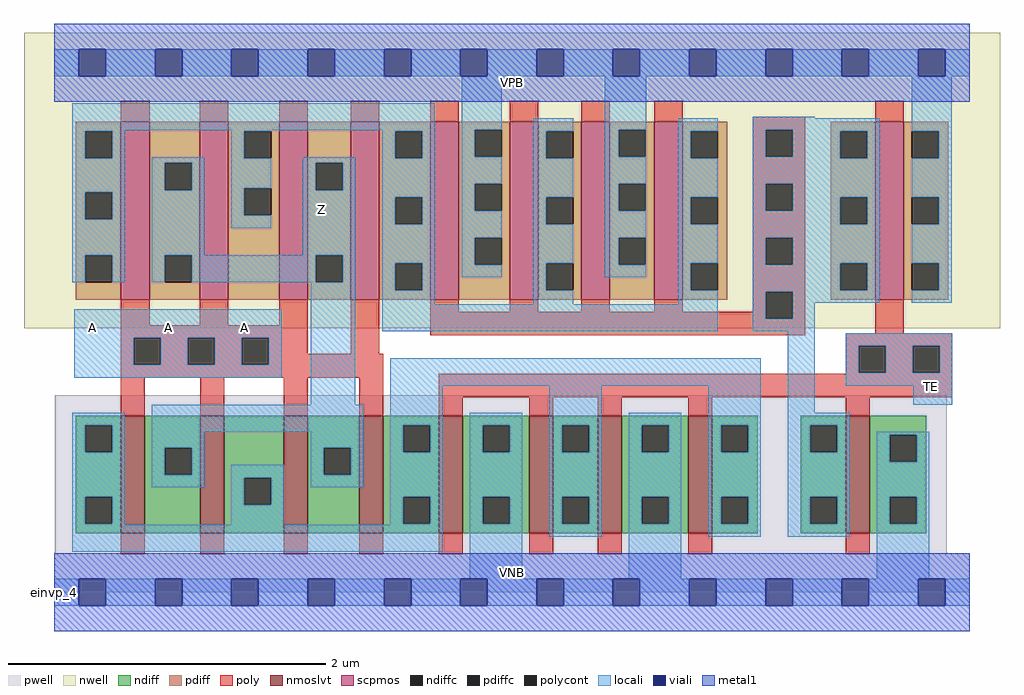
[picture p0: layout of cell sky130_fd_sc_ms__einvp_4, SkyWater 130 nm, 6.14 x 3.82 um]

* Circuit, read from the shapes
.subckt sky130_fd_sc_ms__einvp_4 A TE VGND VNB VPB VPWR Z
XM1 Z A n1 VNB sky130_fd_pr__nfet_01v8_lvt w=0.74 l=0.15 m=4
XM2 VGND TE n1 VNB sky130_fd_pr__nfet_01v8_lvt w=0.74 l=0.15 m=4
XM3 VGND TE n2 VNB sky130_fd_pr__nfet_01v8_lvt w=0.74 l=0.15
XM4 Z A n3 VPB sky130_fd_pr__pfet_01v8 w=1.12 l=0.18 m=4
XM5 VPWR n2 n3 VPB sky130_fd_pr__pfet_01v8 w=1.12 l=0.18 m=4
XM6 VPWR TE n2 VPB sky130_fd_pr__pfet_01v8 w=1.12 l=0.18
.ends

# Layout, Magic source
magic
tech sky130A
magscale 1 2
<< nwell >>
rect -38 332 1190 704
<< pwell >>
rect 1 49 1123 248
rect 0 0 1152 49
<< scpmos >>
rect 84 368 120 592
rect 183 368 219 592
rect 283 368 319 592
rect 373 368 409 592
rect 473 368 509 592
rect 573 368 609 592
rect 663 368 699 592
rect 755 368 791 592
rect 1033 368 1069 592
<< nmoslvt >>
rect 84 74 114 222
rect 184 74 214 222
rect 289 74 319 222
rect 384 74 414 222
rect 484 74 514 222
rect 598 74 628 222
rect 684 74 714 222
rect 798 74 828 222
rect 996 74 1026 222
<< ndiff >>
rect 27 210 84 222
rect 27 176 39 210
rect 73 176 84 210
rect 27 120 84 176
rect 27 86 39 120
rect 73 86 84 120
rect 27 74 84 86
rect 114 182 184 222
rect 114 148 139 182
rect 173 148 184 182
rect 114 74 184 148
rect 214 144 289 222
rect 214 110 239 144
rect 273 110 289 144
rect 214 74 289 110
rect 319 182 384 222
rect 319 148 339 182
rect 373 148 384 182
rect 319 74 384 148
rect 414 210 484 222
rect 414 176 439 210
rect 473 176 484 210
rect 414 120 484 176
rect 414 86 439 120
rect 473 86 484 120
rect 414 74 484 86
rect 514 210 598 222
rect 514 176 539 210
rect 573 176 598 210
rect 514 120 598 176
rect 514 86 539 120
rect 573 86 598 120
rect 514 74 598 86
rect 628 210 684 222
rect 628 176 639 210
rect 673 176 684 210
rect 628 120 684 176
rect 628 86 639 120
rect 673 86 684 120
rect 628 74 684 86
rect 714 210 798 222
rect 714 176 739 210
rect 773 176 798 210
rect 714 120 798 176
rect 714 86 739 120
rect 773 86 798 120
rect 714 74 798 86
rect 828 210 885 222
rect 828 176 839 210
rect 873 176 885 210
rect 828 120 885 176
rect 828 86 839 120
rect 873 86 885 120
rect 828 74 885 86
rect 939 210 996 222
rect 939 176 951 210
rect 985 176 996 210
rect 939 120 996 176
rect 939 86 951 120
rect 985 86 996 120
rect 939 74 996 86
rect 1026 198 1097 222
rect 1026 164 1051 198
rect 1085 164 1097 198
rect 1026 120 1097 164
rect 1026 86 1051 120
rect 1085 86 1097 120
rect 1026 74 1097 86
<< pdiff >>
rect 27 580 84 592
rect 27 546 39 580
rect 73 546 84 580
rect 27 503 84 546
rect 27 469 39 503
rect 73 469 84 503
rect 27 424 84 469
rect 27 390 39 424
rect 73 390 84 424
rect 27 368 84 390
rect 120 540 183 592
rect 120 506 139 540
rect 173 506 183 540
rect 120 424 183 506
rect 120 390 139 424
rect 173 390 183 424
rect 120 368 183 390
rect 219 580 283 592
rect 219 546 239 580
rect 273 546 283 580
rect 219 508 283 546
rect 219 474 239 508
rect 273 474 283 508
rect 219 368 283 474
rect 319 540 373 592
rect 319 506 329 540
rect 363 506 373 540
rect 319 424 373 506
rect 319 390 329 424
rect 363 390 373 424
rect 319 368 373 390
rect 409 580 473 592
rect 409 546 429 580
rect 463 546 473 580
rect 409 497 473 546
rect 409 463 429 497
rect 463 463 473 497
rect 409 414 473 463
rect 409 380 429 414
rect 463 380 473 414
rect 409 368 473 380
rect 509 582 573 592
rect 509 548 529 582
rect 563 548 573 582
rect 509 514 573 548
rect 509 480 529 514
rect 563 480 573 514
rect 509 446 573 480
rect 509 412 529 446
rect 563 412 573 446
rect 509 368 573 412
rect 609 580 663 592
rect 609 546 619 580
rect 653 546 663 580
rect 609 497 663 546
rect 609 463 619 497
rect 653 463 663 497
rect 609 414 663 463
rect 609 380 619 414
rect 653 380 663 414
rect 609 368 663 380
rect 699 582 755 592
rect 699 548 710 582
rect 744 548 755 582
rect 699 514 755 548
rect 699 480 710 514
rect 744 480 755 514
rect 699 446 755 480
rect 699 412 710 446
rect 744 412 755 446
rect 699 368 755 412
rect 791 580 847 592
rect 791 546 801 580
rect 835 546 847 580
rect 791 497 847 546
rect 791 463 801 497
rect 835 463 847 497
rect 791 414 847 463
rect 791 380 801 414
rect 835 380 847 414
rect 791 368 847 380
rect 977 580 1033 592
rect 977 546 989 580
rect 1023 546 1033 580
rect 977 497 1033 546
rect 977 463 989 497
rect 1023 463 1033 497
rect 977 414 1033 463
rect 977 380 989 414
rect 1023 380 1033 414
rect 977 368 1033 380
rect 1069 580 1125 592
rect 1069 546 1079 580
rect 1113 546 1125 580
rect 1069 497 1125 546
rect 1069 463 1079 497
rect 1113 463 1125 497
rect 1069 414 1125 463
rect 1069 380 1079 414
rect 1113 380 1125 414
rect 1069 368 1125 380
<< ndiffc >>
rect 39 176 73 210
rect 39 86 73 120
rect 139 148 173 182
rect 239 110 273 144
rect 339 148 373 182
rect 439 176 473 210
rect 439 86 473 120
rect 539 176 573 210
rect 539 86 573 120
rect 639 176 673 210
rect 639 86 673 120
rect 739 176 773 210
rect 739 86 773 120
rect 839 176 873 210
rect 839 86 873 120
rect 951 176 985 210
rect 951 86 985 120
rect 1051 164 1085 198
rect 1051 86 1085 120
<< pdiffc >>
rect 39 546 73 580
rect 39 469 73 503
rect 39 390 73 424
rect 139 506 173 540
rect 139 390 173 424
rect 239 546 273 580
rect 239 474 273 508
rect 329 506 363 540
rect 329 390 363 424
rect 429 546 463 580
rect 429 463 463 497
rect 429 380 463 414
rect 529 548 563 582
rect 529 480 563 514
rect 529 412 563 446
rect 619 546 653 580
rect 619 463 653 497
rect 619 380 653 414
rect 710 548 744 582
rect 710 480 744 514
rect 710 412 744 446
rect 801 546 835 580
rect 801 463 835 497
rect 801 380 835 414
rect 989 546 1023 580
rect 989 463 1023 497
rect 989 380 1023 414
rect 1079 546 1113 580
rect 1079 463 1113 497
rect 1079 380 1113 414
<< poly >>
rect 84 592 120 618
rect 183 592 219 618
rect 283 592 319 618
rect 373 592 409 618
rect 473 592 509 618
rect 573 592 609 618
rect 663 592 699 618
rect 755 592 791 618
rect 879 582 945 598
rect 1033 592 1069 618
rect 879 548 895 582
rect 929 548 945 582
rect 879 514 945 548
rect 879 480 895 514
rect 929 480 945 514
rect 879 446 945 480
rect 879 412 895 446
rect 929 412 945 446
rect 879 378 945 412
rect 84 336 120 368
rect 183 336 219 368
rect 283 336 319 368
rect 84 320 319 336
rect 84 286 100 320
rect 134 286 168 320
rect 202 286 236 320
rect 270 300 319 320
rect 373 300 409 368
rect 473 353 509 368
rect 573 353 609 368
rect 663 353 699 368
rect 755 353 791 368
rect 879 353 895 378
rect 473 344 895 353
rect 929 344 945 378
rect 473 323 945 344
rect 1033 326 1069 368
rect 996 310 1130 326
rect 270 286 414 300
rect 84 270 414 286
rect 996 276 1012 310
rect 1046 276 1080 310
rect 1114 276 1130 310
rect 996 275 1130 276
rect 84 222 114 270
rect 184 222 214 270
rect 289 222 319 270
rect 384 222 414 270
rect 484 245 1130 275
rect 484 222 514 245
rect 598 222 628 245
rect 684 222 714 245
rect 798 222 828 245
rect 996 222 1026 245
rect 84 48 114 74
rect 184 48 214 74
rect 289 48 319 74
rect 384 48 414 74
rect 484 48 514 74
rect 598 48 628 74
rect 684 48 714 74
rect 798 48 828 74
rect 996 48 1026 74
<< polycont >>
rect 895 548 929 582
rect 895 480 929 514
rect 895 412 929 446
rect 100 286 134 320
rect 168 286 202 320
rect 236 286 270 320
rect 895 344 929 378
rect 1012 276 1046 310
rect 1080 276 1114 310
<< locali >>
rect 0 649 31 683
rect 65 649 127 683
rect 161 649 223 683
rect 257 649 319 683
rect 353 649 415 683
rect 449 649 511 683
rect 545 649 607 683
rect 641 649 703 683
rect 737 649 799 683
rect 833 649 895 683
rect 929 649 991 683
rect 1025 649 1087 683
rect 1121 649 1152 683
rect 23 581 479 615
rect 23 580 89 581
rect 23 546 39 580
rect 73 546 89 580
rect 223 580 273 581
rect 23 503 89 546
rect 23 469 39 503
rect 73 469 89 503
rect 23 424 89 469
rect 23 390 39 424
rect 73 390 89 424
rect 123 540 189 547
rect 123 506 139 540
rect 173 506 189 540
rect 123 424 189 506
rect 223 546 239 580
rect 413 580 479 581
rect 223 508 273 546
rect 223 474 239 508
rect 223 458 273 474
rect 313 540 379 547
rect 313 506 329 540
rect 363 506 379 540
rect 313 424 379 506
rect 123 390 139 424
rect 173 390 329 424
rect 363 390 379 424
rect 25 320 286 356
rect 25 286 100 320
rect 134 286 168 320
rect 202 286 236 320
rect 270 286 286 320
rect 25 270 286 286
rect 323 236 379 390
rect 413 546 429 580
rect 463 546 479 580
rect 413 497 479 546
rect 413 463 429 497
rect 463 463 479 497
rect 413 414 479 463
rect 413 380 429 414
rect 463 380 479 414
rect 513 582 563 649
rect 513 548 529 582
rect 513 514 563 548
rect 513 480 529 514
rect 513 446 563 480
rect 513 412 529 446
rect 513 396 563 412
rect 603 580 653 596
rect 603 546 619 580
rect 603 497 653 546
rect 603 463 619 497
rect 603 414 653 463
rect 413 362 479 380
rect 603 380 619 414
rect 693 582 745 649
rect 879 596 957 598
rect 693 548 710 582
rect 744 548 745 582
rect 693 514 745 548
rect 693 480 710 514
rect 744 480 745 514
rect 693 446 745 480
rect 693 412 710 446
rect 744 412 745 446
rect 693 396 745 412
rect 785 580 835 596
rect 785 546 801 580
rect 785 497 835 546
rect 785 463 801 497
rect 785 414 835 463
rect 603 362 653 380
rect 785 380 801 414
rect 785 362 835 380
rect 413 328 835 362
rect 879 582 1039 596
rect 879 548 895 582
rect 929 580 1039 582
rect 929 548 989 580
rect 879 546 989 548
rect 1023 546 1039 580
rect 879 514 1039 546
rect 879 480 895 514
rect 929 497 1039 514
rect 929 480 989 497
rect 879 463 989 480
rect 1023 463 1039 497
rect 879 446 1039 463
rect 879 412 895 446
rect 929 414 1039 446
rect 929 412 989 414
rect 879 380 989 412
rect 1023 380 1039 414
rect 879 378 1039 380
rect 879 344 895 378
rect 929 364 1039 378
rect 1079 580 1129 649
rect 1113 546 1129 580
rect 1079 497 1129 546
rect 1113 463 1129 497
rect 1079 414 1129 463
rect 1113 380 1129 414
rect 1079 364 1129 380
rect 929 344 957 364
rect 879 328 957 344
rect 423 260 889 294
rect 23 210 89 226
rect 23 176 39 210
rect 73 176 89 210
rect 23 120 89 176
rect 123 202 389 236
rect 123 182 189 202
rect 123 148 139 182
rect 173 148 189 182
rect 323 182 389 202
rect 123 132 189 148
rect 223 144 289 160
rect 23 86 39 120
rect 73 86 89 120
rect 23 85 89 86
rect 223 110 239 144
rect 273 110 289 144
rect 323 148 339 182
rect 373 148 389 182
rect 323 132 389 148
rect 423 210 489 260
rect 423 176 439 210
rect 473 176 489 210
rect 223 85 289 110
rect 423 120 489 176
rect 423 86 439 120
rect 473 86 489 120
rect 423 85 489 86
rect 23 51 489 85
rect 523 210 589 226
rect 523 176 539 210
rect 573 176 589 210
rect 523 120 589 176
rect 523 86 539 120
rect 573 86 589 120
rect 523 17 589 86
rect 623 210 689 260
rect 623 176 639 210
rect 673 176 689 210
rect 623 120 689 176
rect 623 86 639 120
rect 673 86 689 120
rect 623 70 689 86
rect 723 210 789 226
rect 723 176 739 210
rect 773 176 789 210
rect 723 120 789 176
rect 723 86 739 120
rect 773 86 789 120
rect 723 17 789 86
rect 823 210 889 260
rect 823 176 839 210
rect 873 176 889 210
rect 823 120 889 176
rect 823 86 839 120
rect 873 86 889 120
rect 823 70 889 86
rect 923 226 957 328
rect 996 310 1130 326
rect 996 276 1012 310
rect 1046 276 1080 310
rect 1114 276 1130 310
rect 996 260 1130 276
rect 1081 236 1130 260
rect 923 210 1001 226
rect 923 176 951 210
rect 985 176 1001 210
rect 923 120 1001 176
rect 923 86 951 120
rect 985 86 1001 120
rect 923 70 1001 86
rect 1035 198 1101 202
rect 1035 164 1051 198
rect 1085 164 1101 198
rect 1035 120 1101 164
rect 1035 86 1051 120
rect 1085 86 1101 120
rect 1035 17 1101 86
rect 0 -17 31 17
rect 65 -17 127 17
rect 161 -17 223 17
rect 257 -17 319 17
rect 353 -17 415 17
rect 449 -17 511 17
rect 545 -17 607 17
rect 641 -17 703 17
rect 737 -17 799 17
rect 833 -17 895 17
rect 929 -17 991 17
rect 1025 -17 1087 17
rect 1121 -17 1152 17
<< viali >>
rect 31 649 65 683
rect 127 649 161 683
rect 223 649 257 683
rect 319 649 353 683
rect 415 649 449 683
rect 511 649 545 683
rect 607 649 641 683
rect 703 649 737 683
rect 799 649 833 683
rect 895 649 929 683
rect 991 649 1025 683
rect 1087 649 1121 683
rect 31 -17 65 17
rect 127 -17 161 17
rect 223 -17 257 17
rect 319 -17 353 17
rect 415 -17 449 17
rect 511 -17 545 17
rect 607 -17 641 17
rect 703 -17 737 17
rect 799 -17 833 17
rect 895 -17 929 17
rect 991 -17 1025 17
rect 1087 -17 1121 17
<< metal1 >>
rect 0 683 1152 715
rect 0 649 31 683
rect 65 649 127 683
rect 161 649 223 683
rect 257 649 319 683
rect 353 649 415 683
rect 449 649 511 683
rect 545 649 607 683
rect 641 649 703 683
rect 737 649 799 683
rect 833 649 895 683
rect 929 649 991 683
rect 1025 649 1087 683
rect 1121 649 1152 683
rect 0 617 1152 649
rect 0 17 1152 49
rect 0 -17 31 17
rect 65 -17 127 17
rect 161 -17 223 17
rect 257 -17 319 17
rect 353 -17 415 17
rect 449 -17 511 17
rect 545 -17 607 17
rect 641 -17 703 17
rect 737 -17 799 17
rect 833 -17 895 17
rect 929 -17 991 17
rect 1025 -17 1087 17
rect 1121 -17 1152 17
rect 0 -49 1152 -17
<< labels >>
flabel pwell s 0 0 1152 49 0 FreeSans 200 0 0 0 VNB
port 4 nsew ground bidirectional
flabel nwell s 0 617 1152 666 0 FreeSans 200 0 0 0 VPB
port 5 nsew power bidirectional
rlabel comment s 0 0 0 0 4 einvp_4
flabel metal1 s 0 617 1152 666 0 FreeSans 340 0 0 0 VPWR
port 6 nsew power bidirectional
flabel metal1 s 0 0 1152 49 0 FreeSans 340 0 0 0 VGND
port 3 nsew ground bidirectional
flabel locali s 1087 242 1121 276 0 FreeSans 340 0 0 0 TE
port 2 nsew signal input
flabel locali s 319 464 353 498 0 FreeSans 340 0 0 0 Z
port 7 nsew signal output
flabel locali s 31 316 65 350 0 FreeSans 340 0 0 0 A
port 1 nsew signal input
flabel locali s 127 316 161 350 0 FreeSans 340 0 0 0 A
port 1 nsew signal input
flabel locali s 223 316 257 350 0 FreeSans 340 0 0 0 A
port 1 nsew signal input
<< properties >>
string LEFsite unit
string LEFclass CORE
string FIXED_BBOX 0 0 1152 666
string GDS_FILE $PDKPATH/libs.ref/sky130_fd_sc_ms/gds/sky130_fd_sc_ms.gds
string LEFsymmetry X Y
string GDS_END 1964646
string GDS_START 1955378
<< end >>
